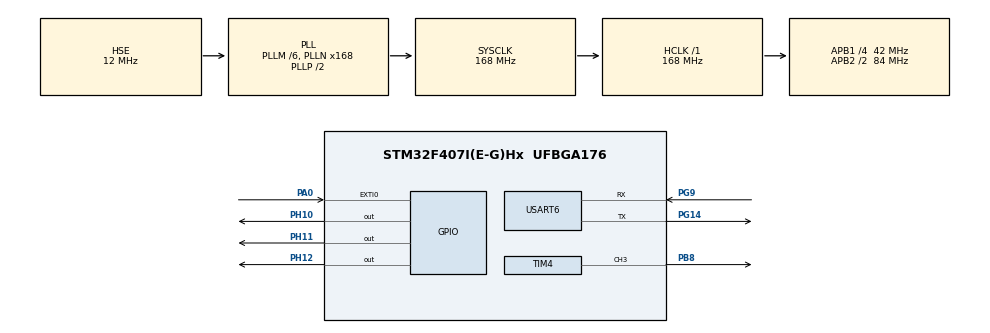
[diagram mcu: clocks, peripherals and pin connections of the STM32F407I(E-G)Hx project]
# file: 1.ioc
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Dma.Request0=USART6_RX
Dma.Request1=USART6_TX
Dma.USART6_RX.0.Direction=DMA_PERIPH_TO_MEMORY
Dma.USART6_RX.0.FIFOMode=DMA_FIFOMODE_DISABLE
Dma.USART6_RX.0.Instance=DMA2_Stream1
Dma.USART6_RX.0.MemDataAlignment=DMA_MDATAALIGN_BYTE
Dma.USART6_RX.0.MemInc=DMA_MINC_ENABLE
Dma.USART6_RX.0.Mode=DMA_NORMAL
Dma.USART6_RX.0.PeriphDataAlignment=DMA_PDATAALIGN_BYTE
Dma.USART6_RX.0.PeriphInc=DMA_PINC_DISABLE
Dma.USART6_RX.0.Priority=DMA_PRIORITY_LOW
Dma.USART6_TX.1.Direction=DMA_MEMORY_TO_PERIPH
Dma.USART6_TX.1.FIFOMode=DMA_FIFOMODE_DISABLE
Dma.USART6_TX.1.Instance=DMA2_Stream6
Dma.USART6_TX.1.MemDataAlignment=DMA_MDATAALIGN_BYTE
Dma.USART6_TX.1.MemInc=DMA_MINC_ENABLE
Dma.USART6_TX.1.Mode=DMA_NORMAL
Dma.USART6_TX.1.PeriphDataAlignment=DMA_PDATAALIGN_BYTE
Dma.USART6_TX.1.PeriphInc=DMA_PINC_DISABLE
Dma.USART6_TX.1.Priority=DMA_PRIORITY_LOW
Mcu.Family=STM32F4
Mcu.Name=STM32F407I(E-G)Hx
Mcu.Package=UFBGA176
NVIC.DMA2_Stream1_IRQn=true\:0\:0\:false\:false\:true\:false\:true\:true
NVIC.DMA2_Stream6_IRQn=true\:0\:0\:false\:false\:true\:false\:true\:true
NVIC.PriorityGroup=NVIC_PRIORITYGROUP_4
NVIC.USART6_IRQn=true\:0\:0\:false\:false\:true\:true\:true\:true
PA0-WKUP.GPIO_PuPd=GPIO_PULLDOWN
PA0-WKUP.Signal=GPXTI0
PA13.Mode=Serial_Wire
PA13.Signal=SYS_JTMS-SWDIO
PA14.Mode=Serial_Wire
PA14.Signal=SYS_JTCK-SWCLK
PB8.Signal=S_TIM4_CH3
PG14.Mode=Asynchronous
PG14.Signal=USART6_TX
PG9.Mode=Asynchronous
PG9.Signal=USART6_RX
PH0-OSC_IN.Mode=HSE-External-Oscillator
PH0-OSC_IN.Signal=RCC_OSC_IN
PH1-OSC_OUT.Mode=HSE-External-Oscillator
PH1-OSC_OUT.Signal=RCC_OSC_OUT
PH10.PinState=GPIO_PIN_SET
PH10.Signal=GPIO_Output
PH11.PinState=GPIO_PIN_SET
PH11.Signal=GPIO_Output
PH12.PinState=GPIO_PIN_SET
PH12.Signal=GPIO_Output
ProjectManager.HeapSize=0x200
ProjectManager.StackSize=0x400
ProjectManager.TargetToolchain=CMake
RCC.48MHZClocksFreq_Value=84000000
RCC.AHBFreq_Value=168000000
RCC.APB1CLKDivider=RCC_HCLK_DIV4
RCC.APB1Freq_Value=42000000
RCC.APB1TimFreq_Value=84000000
RCC.APB2CLKDivider=RCC_HCLK_DIV2
RCC.APB2Freq_Value=84000000
RCC.APB2TimFreq_Value=168000000
RCC.CortexFreq_Value=168000000
RCC.HCLKFreq_Value=168000000
RCC.HSE_VALUE=12000000
RCC.HSI_VALUE=16000000
RCC.LSE_VALUE=32768
RCC.PLLM=6
RCC.PLLN=168
RCC.PLLSourceVirtual=RCC_PLLSOURCE_HSE
RCC.SYSCLKFreq_VALUE=168000000
RCC.SYSCLKSource=RCC_SYSCLKSOURCE_PLLCLK
RCC.VCOOutputFreq_Value=336000000
SH.S_TIM4_CH3.0=TIM4_CH3,PWM Generation3 CH3
TIM4.Channel-PWM\ Generation3\ CH3=TIM_CHANNEL_3
TIM4.Prescaler=84-1
TIM5.Period=249
TIM5.Prescaler=83
USART6.VirtualMode=VM_ASYNC
VP_TIM4_VS_ClockSourceINT.Mode=Internal
VP_TIM5_VS_ClockSourceINT.Mode=Internal
board=custom

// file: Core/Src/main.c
/* USER CODE BEGIN Header */
/**
  ******************************************************************************
  * @file           : main.c
  * @brief          : Main program body
  ******************************************************************************
  * @attention
  *
  * Copyright (c) 2026 STMicroelectronics.
  * All rights reserved.
  *
  * This software is licensed under terms that can be found in the LICENSE file
  * in the root directory of this software component.
  * If no LICENSE file comes with this software, it is provided AS-IS.
  *
  ******************************************************************************
  */
/* USER CODE END Header */
#include "main.h"
#include "dma.h"
#include "tim.h"
#include "usart.h"
#include "gpio.h"

/* USER CODE BEGIN PV */
uint8_t receiveData[2];
/* USER CODE END PV */

void SystemClock_Config(void);

/* USER CODE BEGIN 0 */
 void HAL_UART_RxCpltCallback(UART_HandleTypeDef *huart){
    HAL_UART_Transmit_DMA(&huart6, receiveData, 2);
    GPIO_PinState state = GPIO_PIN_SET;
    if (receiveData[1]=='0'){
      state = GPIO_PIN_RESET;
    }
    if (receiveData[0]== 'B'){
      HAL_GPIO_WritePin(GPIOH, GPIO_PIN_10, state);
    }else if (receiveData[0]=='G'){
      HAL_GPIO_WritePin(GPIOH, GPIO_PIN_11, state);
    }else if (receiveData[0] == 'R'){
      HAL_GPIO_WritePin(GPIOH, GPIO_PIN_12, state);
    }
    HAL_UART_Receive_DMA(&huart6, receiveData, 2);
  }

/* USER CODE END 0 */

int main(void)
{

  /* MCU Configuration--------------------------------------------------------*/

  /* Reset of all peripherals, Initializes the Flash interface and the Systick. */
  HAL_Init();

  /* Configure the system clock */
  SystemClock_Config();

  /* Initialize all configured peripherals */
  MX_GPIO_Init();
  MX_DMA_Init();
  MX_TIM4_Init();
  MX_TIM5_Init();
  MX_USART6_UART_Init();
  /* USER CODE BEGIN 2 */
  HAL_GPIO_WritePin(GPIOH, GPIO_PIN_10, GPIO_PIN_RESET);
  HAL_GPIO_WritePin(GPIOH, GPIO_PIN_11, GPIO_PIN_RESET);
  HAL_GPIO_WritePin(GPIOH, GPIO_PIN_12, GPIO_PIN_RESET);
  /* USER CODE END 2 */

  /* Infinite loop */
  /* USER CODE BEGIN WHILE */
  MX_USART6_UART_Init();

/* USER CODE BEGIN 2 */
HAL_UART_Receive_DMA(&huart6, receiveData, 2);

  while (1)
  {
    /* USER CODE END WHILE */

  }
}

void SystemClock_Config(void)
{
  RCC_OscInitTypeDef RCC_OscInitStruct = {0};
  RCC_ClkInitTypeDef RCC_ClkInitStruct = {0};

  /** Configure the main internal regulator output voltage
  */
  __HAL_RCC_PWR_CLK_ENABLE();
  __HAL_PWR_VOLTAGESCALING_CONFIG(PWR_REGULATOR_VOLTAGE_SCALE1);

  /** Initializes the RCC Oscillators according to the specified parameters
  * in the RCC_OscInitTypeDef structure.
  */
  RCC_OscInitStruct.OscillatorType = RCC_OSCILLATORTYPE_HSE;
  RCC_OscInitStruct.HSEState = RCC_HSE_ON;
  RCC_OscInitStruct.PLL.PLLState = RCC_PLL_ON;
  RCC_OscInitStruct.PLL.PLLSource = RCC_PLLSOURCE_HSE;
  RCC_OscInitStruct.PLL.PLLM = 6;
  RCC_OscInitStruct.PLL.PLLN = 168;
  RCC_OscInitStruct.PLL.PLLP = RCC_PLLP_DIV2;
  RCC_OscInitStruct.PLL.PLLQ = 4;
  if (HAL_RCC_OscConfig(&RCC_OscInitStruct) != HAL_OK)
  {
    Error_Handler();
  }

  /** Initializes the CPU, AHB and APB buses clocks
  */
  RCC_ClkInitStruct.ClockType = RCC_CLOCKTYPE_HCLK|RCC_CLOCKTYPE_SYSCLK
                              |RCC_CLOCKTYPE_PCLK1|RCC_CLOCKTYPE_PCLK2;
  RCC_ClkInitStruct.SYSCLKSource = RCC_SYSCLKSOURCE_PLLCLK;
  RCC_ClkInitStruct.AHBCLKDivider = RCC_SYSCLK_DIV1;
  RCC_ClkInitStruct.APB1CLKDivider = RCC_HCLK_DIV4;
  RCC_ClkInitStruct.APB2CLKDivider = RCC_HCLK_DIV2;

  if (HAL_RCC_ClockConfig(&RCC_ClkInitStruct, FLASH_LATENCY_5) != HAL_OK)
  {
    Error_Handler();
  }
}

void Error_Handler(void)
{
  __disable_irq();
  while (1)
  {
  }
}
